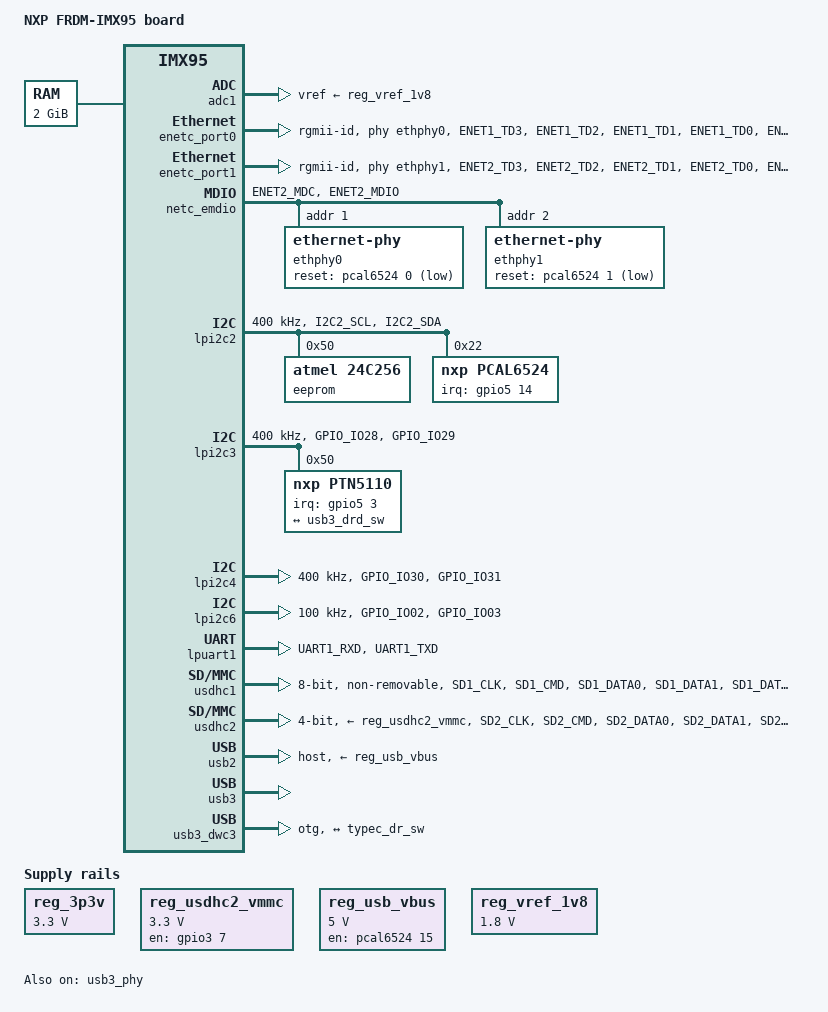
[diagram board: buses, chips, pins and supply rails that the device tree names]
// SPDX-License-Identifier: (GPL-2.0+ OR MIT)
/*
 * Copyright 2025 NXP
 */

/dts-v1/;

#include <dt-bindings/usb/pd.h>
#include "../dts/upstream/src/arm64/freescale/imx95.dtsi"
#include "imx95-u-boot.dtsi"

/ {
	model = "NXP FRDM-IMX95 board";
	compatible = "fsl,frdm-imx95", "fsl,imx95";

	aliases {
		gpio0 = &gpio1;
		gpio1 = &gpio2;
		gpio2 = &gpio3;
		gpio3 = &gpio4;
		gpio4 = &gpio5;
		i2c0 = &lpi2c1;
		i2c1 = &lpi2c2;
		i2c2 = &lpi2c3;
		i2c3 = &lpi2c4;
		i2c4 = &lpi2c5;
		i2c5 = &lpi2c6;
		i2c6 = &lpi2c7;
		i2c7 = &lpi2c8;
		mmc0 = &usdhc1;
		mmc1 = &usdhc2;
		mmc2 = &usdhc3;
		serial0 = &lpuart1;
		serial1 = &lpuart2;
		serial2 = &lpuart3;
		serial3 = &lpuart4;
		serial4 = &lpuart5;
		serial5 = &lpuart6;
		serial6 = &lpuart7;
		serial7 = &lpuart8;
		ethernet0 = &enetc_port0;
		ethernet1 = &enetc_port1;
	};

	chosen {
		stdout-path = &lpuart1;
	};

	memory@80000000 {
		device_type = "memory";
		reg = <0x0 0x80000000 0 0x80000000>;
	};

	reg_3p3v: regulator-3p3v {
		compatible = "regulator-fixed";
		regulator-max-microvolt = <3300000>;
		regulator-min-microvolt = <3300000>;
		regulator-name = "+V3.3_SW";
	};
	reg_usdhc2_vmmc: regulator-usdhc2 {
		compatible = "regulator-fixed";
		pinctrl-names = "default";
		pinctrl-0 = <&pinctrl_reg_usdhc2_vmmc>;
		regulator-name = "VDD_SD2_3V3";
		regulator-min-microvolt = <3300000>;
		regulator-max-microvolt = <3300000>;
		gpio = <&gpio3 7 GPIO_ACTIVE_HIGH>;
		off-on-delay-us = <12000>;
		enable-active-high;
	};

	reg_usb_vbus: regulator-vbus {
		compatible = "regulator-fixed";
		regulator-name = "USB_VBUS";
		regulator-min-microvolt = <5000000>;
		regulator-max-microvolt = <5000000>;
		gpio = <&pcal6524 15 GPIO_ACTIVE_HIGH>;
		enable-active-high;
		regulator-always-on;
	};

	reg_vref_1v8: regulator-adc-vref {
		compatible = "regulator-fixed";
		regulator-name = "vref_1v8";
		regulator-min-microvolt = <1800000>;
		regulator-max-microvolt = <1800000>;
	};
};

&adc1 {
	vref-supply = <&reg_vref_1v8>;
	status = "okay";
};

&enetc_port0 {
	pinctrl-names = "default";
	pinctrl-0 = <&pinctrl_enetc0>;
	phy-handle = <&ethphy0>;
	phy-mode = "rgmii-id";
	status = "okay";
};

&enetc_port1 {
	pinctrl-names = "default";
	pinctrl-0 = <&pinctrl_enetc1>;
	phy-handle = <&ethphy1>;
	phy-mode = "rgmii-id";
	status = "okay";
};

&netc_emdio {
	pinctrl-names = "default";
	pinctrl-0 = <&pinctrl_emdio>;
	status = "okay";

	ethphy0: ethernet-phy@1 {
		reg = <1>;
		eee-broken-1000t;
		reset-gpios = <&pcal6524 0 GPIO_ACTIVE_LOW>;
		reset-assert-us = <10000>;
		reset-deassert-us = <80000>;
	};

	ethphy1: ethernet-phy@2 {
		reg = <2>;
		eee-broken-1000t;
		reset-gpios = <&pcal6524 1 GPIO_ACTIVE_LOW>;
		reset-assert-us = <10000>;
		reset-deassert-us = <80000>;
	};
};

&lpi2c2 {
	#address-cells = <1>;
	#size-cells = <0>;
	clock-frequency = <400000>;
	pinctrl-names = "default";
	pinctrl-0 = <&pinctrl_lpi2c2>;
	status = "okay";

	eeprom: at24c256@50 {
		compatible = "atmel,24c256";
		reg = <0x50>;
		pagesize = <64>;
	};

	pcal6524: gpio@22 {
		compatible = "nxp,pcal6524";
		pinctrl-names = "default";
		pinctrl-0 = <&pinctrl_pcal6524>;
		reg = <0x22>;
		gpio-controller;
		#gpio-cells = <2>;
		interrupt-controller;
		#interrupt-cells = <2>;
		interrupt-parent = <&gpio5>;
		interrupts = <14 IRQ_TYPE_LEVEL_LOW>;
	};
};

&lpi2c3 {
	#address-cells = <1>;
	#size-cells = <0>;
	clock-frequency = <400000>;
	pinctrl-names = "default";
	pinctrl-0 = <&pinctrl_lpi2c3>;
	status = "okay";

	ptn5110: tcpc@50 {
		compatible = "nxp,ptn5110";
		reg = <0x50>;
		interrupt-parent = <&gpio5>;
		interrupts = <3 IRQ_TYPE_LEVEL_LOW>;
		pinctrl-names = "default";
		pinctrl-0 = <&pinctrl_ptn5110>;

		port {
			typec_dr_sw: endpoint {
				remote-endpoint = <&usb3_drd_sw>;
			};
		};

		typec_con: connector {
			compatible = "usb-c-connector";
			label = "USB-C";
			power-role = "dual";
			data-role = "dual";
			try-power-role = "sink";
			source-pdos = <PDO_FIXED(5000, 3000, PDO_FIXED_USB_COMM)>;
			sink-pdos = <PDO_FIXED(5000, 3000, PDO_FIXED_USB_COMM)
				     PDO_VAR(5000, 20000, 3000)>;
			op-sink-microwatt = <15000000>;
			self-powered;
		};
	};
};

&lpi2c4 {
	#address-cells = <1>;
	#size-cells = <0>;
	clock-frequency = <400000>;
	pinctrl-names = "default";
	pinctrl-0 = <&pinctrl_lpi2c4>;
	status = "okay";
};

&lpi2c6 {
	#address-cells = <1>;
	#size-cells = <0>;
	clock-frequency = <100000>;
	pinctrl-names = "default";
	pinctrl-0 = <&pinctrl_lpi2c6>;
	status = "okay";
};

&lpuart1 {
	/* console */
	pinctrl-names = "default";
	pinctrl-0 = <&pinctrl_uart1>;
	status = "okay";
};

&usdhc1 {
	pinctrl-names = "default", "state_100mhz", "state_200mhz";
	pinctrl-0 = <&pinctrl_usdhc1>;
	pinctrl-1 = <&pinctrl_usdhc1_100mhz>;
	pinctrl-2 = <&pinctrl_usdhc1_200mhz>;
	bus-width = <8>;
	non-removable;
	no-sdio;
	no-sd;
	status = "okay";
};

&usdhc2 {
	pinctrl-names = "default", "state_100mhz", "state_200mhz";
	pinctrl-0 = <&pinctrl_usdhc2>, <&pinctrl_usdhc2_gpio>;
	pinctrl-1 = <&pinctrl_usdhc2_100mhz>, <&pinctrl_usdhc2_gpio>;
	pinctrl-2 = <&pinctrl_usdhc2_200mhz>, <&pinctrl_usdhc2_gpio>;
	cd-gpios = <&gpio3 00 GPIO_ACTIVE_LOW>;
	vmmc-supply = <&reg_usdhc2_vmmc>;
	bus-width = <4>;
	status = "okay";
};

&usb2 {
	dr_mode = "host";
	vbus-supply = <&reg_usb_vbus>;
	disable-over-current;
	status = "okay";
};

&usb3 {
	status = "okay";
};

&usb3_phy {
	status = "okay";
};

&usb3_dwc3 {
	dr_mode = "otg";
	hnp-disable;
	srp-disable;
	adp-disable;
	usb-role-switch;
	role-switch-default-mode = "none";
	snps,dis-u1-entry-quirk;
	snps,dis-u2-entry-quirk;
	status = "okay";

	port {
		usb3_drd_sw: endpoint {
			remote-endpoint = <&typec_dr_sw>;
		};
	};
};

&scmi_iomuxc {
	pinctrl_lpi2c1: lpi2c1grp {
		fsl,pins = <
			IMX95_PAD_I2C1_SCL__AONMIX_TOP_LPI2C1_SCL	0x40000b9e
			IMX95_PAD_I2C1_SDA__AONMIX_TOP_LPI2C1_SDA	0x40000b9e
		>;
	};

	pinctrl_lpi2c2: lpi2c2grp {
		fsl,pins = <
			IMX95_PAD_I2C2_SCL__AONMIX_TOP_LPI2C2_SCL	0x40000b9e
			IMX95_PAD_I2C2_SDA__AONMIX_TOP_LPI2C2_SDA	0x40000b9e
		>;
	};

	pinctrl_lpi2c3: lpi2c3grp {
		fsl,pins = <
			IMX95_PAD_GPIO_IO28__LPI2C3_SDA			0x40000b9e
			IMX95_PAD_GPIO_IO29__LPI2C3_SCL			0x40000b9e
		>;
	};

	pinctrl_lpi2c4: lpi2c4grp {
		fsl,pins = <
			IMX95_PAD_GPIO_IO30__LPI2C4_SDA			0x40000b9e
			IMX95_PAD_GPIO_IO31__LPI2C4_SCL			0x40000b9e
		>;
	};

	pinctrl_lpi2c6: lpi2c6grp {
		fsl,pins = <
			IMX95_PAD_GPIO_IO02__LPI2C6_SDA			0x40000b9e
			IMX95_PAD_GPIO_IO03__LPI2C6_SCL			0x40000b9e
		>;
	};

	pinctrl_mipi_dsi_csi: mipidsigrp {
		fsl,pins = <
			IMX95_PAD_CCM_CLKO3__GPIO4_IO_BIT28		0x31e
			IMX95_PAD_XSPI1_DATA6__GPIO5_IO_BIT6		0x31e
			IMX95_PAD_XSPI1_DATA7__GPIO5_IO_BIT7		0x31e
		>;
	};

	pinctrl_pcal6524: pcal6524grp {
		fsl,pins = <
			IMX95_PAD_GPIO_IO34__GPIO5_IO_BIT14		0x31e
		>;
	};

	pinctrl_uart1: uart1grp {
		fsl,pins = <
			IMX95_PAD_UART1_RXD__AONMIX_TOP_LPUART1_RX      0x31e
			IMX95_PAD_UART1_TXD__AONMIX_TOP_LPUART1_TX      0x31e
		>;
	};

	pinctrl_enetc0: enetc0grp {
		fsl,pins = <
			IMX95_PAD_ENET1_TD3__NETCMIX_TOP_ETH0_RGMII_TD3		0x57e
			IMX95_PAD_ENET1_TD2__NETCMIX_TOP_ETH0_RGMII_TD2		0x57e
			IMX95_PAD_ENET1_TD1__NETCMIX_TOP_ETH0_RGMII_TD1		0x57e
			IMX95_PAD_ENET1_TD0__NETCMIX_TOP_ETH0_RGMII_TD0		0x57e
			IMX95_PAD_ENET1_TX_CTL__NETCMIX_TOP_ETH0_RGMII_TX_CTL	0x57e
			IMX95_PAD_ENET1_TXC__NETCMIX_TOP_ETH0_RGMII_TX_CLK	0x5fe
			IMX95_PAD_ENET1_RX_CTL__NETCMIX_TOP_ETH0_RGMII_RX_CTL	0x57e
			IMX95_PAD_ENET1_RXC__NETCMIX_TOP_ETH0_RGMII_RX_CLK	0x5fe
			IMX95_PAD_ENET1_RD0__NETCMIX_TOP_ETH0_RGMII_RD0		0x57e
			IMX95_PAD_ENET1_RD1__NETCMIX_TOP_ETH0_RGMII_RD1		0x57e
			IMX95_PAD_ENET1_RD2__NETCMIX_TOP_ETH0_RGMII_RD2		0x57e
			IMX95_PAD_ENET1_RD3__NETCMIX_TOP_ETH0_RGMII_RD3		0x57e
		>;
	};

	pinctrl_enetc1: enetc1grp {
		fsl,pins = <
			IMX95_PAD_ENET2_TD3__NETCMIX_TOP_ETH1_RGMII_TD3		0x57e
			IMX95_PAD_ENET2_TD2__NETCMIX_TOP_ETH1_RGMII_TD2		0x57e
			IMX95_PAD_ENET2_TD1__NETCMIX_TOP_ETH1_RGMII_TD1		0x57e
			IMX95_PAD_ENET2_TD0__NETCMIX_TOP_ETH1_RGMII_TD0		0x57e
			IMX95_PAD_ENET2_TX_CTL__NETCMIX_TOP_ETH1_RGMII_TX_CTL	0x57e
			IMX95_PAD_ENET2_TXC__NETCMIX_TOP_ETH1_RGMII_TX_CLK	0x5fe
			IMX95_PAD_ENET2_RX_CTL__NETCMIX_TOP_ETH1_RGMII_RX_CTL	0x57e
			IMX95_PAD_ENET2_RXC__NETCMIX_TOP_ETH1_RGMII_RX_CLK	0x5fe
			IMX95_PAD_ENET2_RD0__NETCMIX_TOP_ETH1_RGMII_RD0		0x57e
			IMX95_PAD_ENET2_RD1__NETCMIX_TOP_ETH1_RGMII_RD1		0x57e
			IMX95_PAD_ENET2_RD2__NETCMIX_TOP_ETH1_RGMII_RD2		0x57e
			IMX95_PAD_ENET2_RD3__NETCMIX_TOP_ETH1_RGMII_RD3		0x57e
		>;
	};

	pinctrl_emdio: emdiogrp {
		fsl,pins = <
			IMX95_PAD_ENET2_MDC__NETCMIX_TOP_NETC_MDC		0x57e
			IMX95_PAD_ENET2_MDIO__NETCMIX_TOP_NETC_MDIO		0x97e
		>;
	};

	pinctrl_ptn5110: ptn5110grp {
		fsl,pins = <
			IMX95_PAD_XSPI1_DATA3__GPIO5_IO_BIT3			0x31e
		>;
	};

	pinctrl_usdhc1: usdhc1grp {
		fsl,pins = <
			IMX95_PAD_SD1_CLK__USDHC1_CLK				0x158e
			IMX95_PAD_SD1_CMD__USDHC1_CMD				0x138e
			IMX95_PAD_SD1_DATA0__USDHC1_DATA0			0x138e
			IMX95_PAD_SD1_DATA1__USDHC1_DATA1			0x138e
			IMX95_PAD_SD1_DATA2__USDHC1_DATA2			0x138e
			IMX95_PAD_SD1_DATA3__USDHC1_DATA3			0x138e
			IMX95_PAD_SD1_DATA4__USDHC1_DATA4			0x138e
			IMX95_PAD_SD1_DATA5__USDHC1_DATA5			0x138e
			IMX95_PAD_SD1_DATA6__USDHC1_DATA6			0x138e
			IMX95_PAD_SD1_DATA7__USDHC1_DATA7			0x138e
			IMX95_PAD_SD1_STROBE__USDHC1_STROBE			0x158e
		>;
	};

	pinctrl_usdhc1_100mhz: usdhc1-100mhzgrp {
		fsl,pins = <
			IMX95_PAD_SD1_CLK__USDHC1_CLK				0x158e
			IMX95_PAD_SD1_CMD__USDHC1_CMD				0x138e
			IMX95_PAD_SD1_DATA0__USDHC1_DATA0			0x138e
			IMX95_PAD_SD1_DATA1__USDHC1_DATA1			0x138e
			IMX95_PAD_SD1_DATA2__USDHC1_DATA2			0x138e
			IMX95_PAD_SD1_DATA3__USDHC1_DATA3			0x138e
			IMX95_PAD_SD1_DATA4__USDHC1_DATA4			0x138e
			IMX95_PAD_SD1_DATA5__USDHC1_DATA5			0x138e
			IMX95_PAD_SD1_DATA6__USDHC1_DATA6			0x138e
			IMX95_PAD_SD1_DATA7__USDHC1_DATA7			0x138e
			IMX95_PAD_SD1_STROBE__USDHC1_STROBE			0x158e
		>;
	};

	pinctrl_usdhc1_200mhz: usdhc1-200mhzgrp {
		fsl,pins = <
			IMX95_PAD_SD1_CLK__USDHC1_CLK				0x15fe
			IMX95_PAD_SD1_CMD__USDHC1_CMD				0x13fe
			IMX95_PAD_SD1_DATA0__USDHC1_DATA0			0x13fe
			IMX95_PAD_SD1_DATA1__USDHC1_DATA1			0x13fe
			IMX95_PAD_SD1_DATA2__USDHC1_DATA2			0x13fe
			IMX95_PAD_SD1_DATA3__USDHC1_DATA3			0x13fe
			IMX95_PAD_SD1_DATA4__USDHC1_DATA4			0x13fe
			IMX95_PAD_SD1_DATA5__USDHC1_DATA5			0x13fe
			IMX95_PAD_SD1_DATA6__USDHC1_DATA6			0x13fe
			IMX95_PAD_SD1_DATA7__USDHC1_DATA7			0x13fe
			IMX95_PAD_SD1_STROBE__USDHC1_STROBE			0x15fe
		>;
	};

	pinctrl_reg_usdhc2_vmmc: regusdhc2vmmcgrp {
		fsl,pins = <
			IMX95_PAD_SD2_RESET_B__GPIO3_IO_BIT7			0x31e
		>;
	};

	pinctrl_usdhc2_gpio: usdhc2gpiogrp {
		fsl,pins = <
			IMX95_PAD_SD2_CD_B__GPIO3_IO_BIT0			0x31e
		>;
	};

	pinctrl_usdhc2: usdhc2grp {
		fsl,pins = <
			IMX95_PAD_SD2_CLK__USDHC2_CLK				0x158e
			IMX95_PAD_SD2_CMD__USDHC2_CMD				0x138e
			IMX95_PAD_SD2_DATA0__USDHC2_DATA0			0x138e
			IMX95_PAD_SD2_DATA1__USDHC2_DATA1			0x138e
			IMX95_PAD_SD2_DATA2__USDHC2_DATA2			0x138e
			IMX95_PAD_SD2_DATA3__USDHC2_DATA3			0x138e
			IMX95_PAD_SD2_VSELECT__USDHC2_VSELECT			0x51e
		>;
	};

	pinctrl_usdhc2_100mhz: usdhc2-100mhzgrp {
		fsl,pins = <
			IMX95_PAD_SD2_CLK__USDHC2_CLK				0x158e
			IMX95_PAD_SD2_CMD__USDHC2_CMD				0x138e
			IMX95_PAD_SD2_DATA0__USDHC2_DATA0			0x138e
			IMX95_PAD_SD2_DATA1__USDHC2_DATA1			0x138e
			IMX95_PAD_SD2_DATA2__USDHC2_DATA2			0x138e
			IMX95_PAD_SD2_DATA3__USDHC2_DATA3			0x138e
			IMX95_PAD_SD2_VSELECT__USDHC2_VSELECT			0x51e
		>;
	};

	pinctrl_usdhc2_200mhz: usdhc2-200mhzgrp {
		fsl,pins = <
			IMX95_PAD_SD2_CLK__USDHC2_CLK				0x15fe
			IMX95_PAD_SD2_CMD__USDHC2_CMD				0x13fe
			IMX95_PAD_SD2_DATA0__USDHC2_DATA0			0x13fe
			IMX95_PAD_SD2_DATA1__USDHC2_DATA1			0x13fe
			IMX95_PAD_SD2_DATA2__USDHC2_DATA2			0x13fe
			IMX95_PAD_SD2_DATA3__USDHC2_DATA3			0x13fe
			IMX95_PAD_SD2_VSELECT__USDHC2_VSELECT			0x51e
		>;
	};
};
